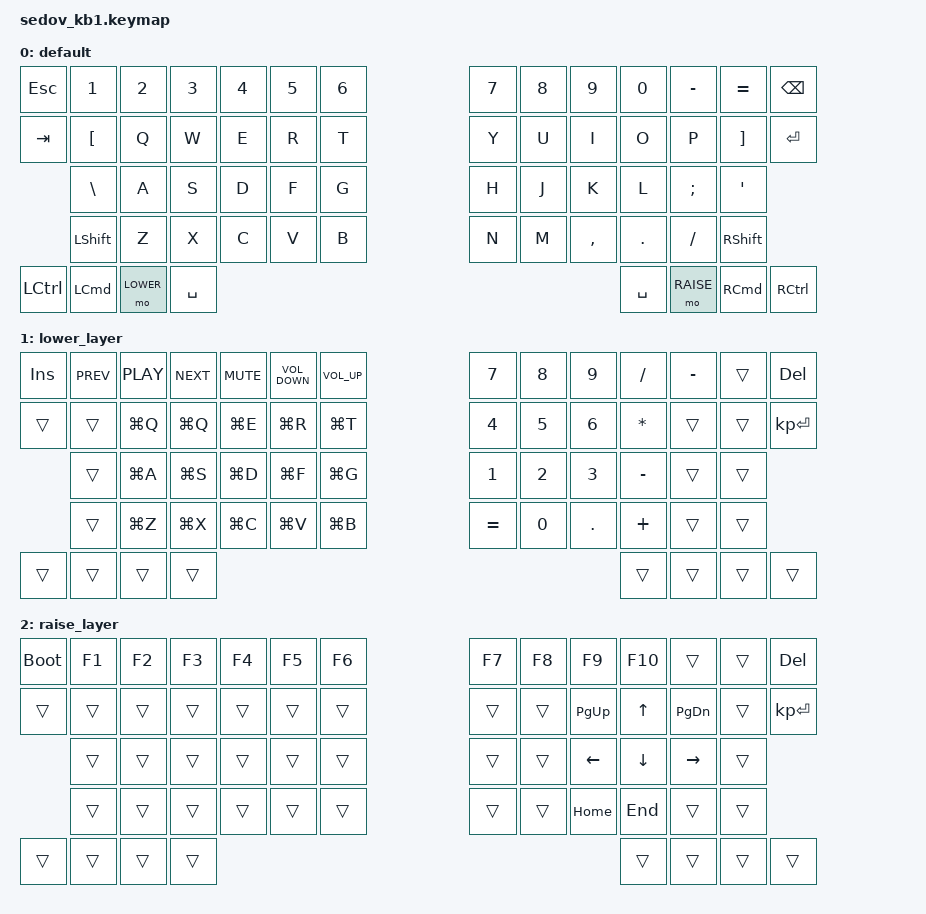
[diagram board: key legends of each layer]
/*
 * Copyright (c) 2020 The ZMK Contributors
 *
 * SPDX-License-Identifier: MIT
 */

#include <behaviors.dtsi>
#include <behaviors/mouse_move.dtsi>
#include <behaviors/mouse_scroll.dtsi>
#include <behaviors/mouse_keys.dtsi>

#include <dt-bindings/zmk/keys.h>
#include <dt-bindings/zmk/bt.h>
#include <dt-bindings/zmk/outputs.h>
#include <dt-bindings/zmk/mouse.h>

#define DEFAULT 0
#define LOWER  1
#define RAISE  2


/ {
    keymap {
        compatible = "zmk,keymap";

        default {
           bindings = <
                &kp ESC    &kp N1      &kp N2      &kp N3     &kp N4      &kp N5    &kp N6                              &kp N7     &kp N8     &kp N9     &kp N0     &kp MINUS    &kp EQUAL   &kp BSPC 
                &kp TAB    &kp LBKT    &kp Q       &kp W      &kp E       &kp R     &kp T                               &kp Y      &kp U      &kp I      &kp O      &kp P        &kp RBKT    &kp RET  
                           &kp BSLH    &kp A       &kp S      &kp D       &kp F     &kp G                               &kp H      &kp J      &kp K      &kp L      &kp SEMI     &kp SQT 
                           &kp LSHFT   &kp Z       &kp X      &kp C       &kp V     &kp B                               &kp N      &kp M      &kp COMMA  &kp PERIOD &kp SLASH    &kp RSHIFT 
                &kp LCTRL              &kp LCMD               &mo LOWER             &kp SPACE                           &kp SPACE             &mo RAISE             &kp RCMD                &kp RCTRL  
            >;
        };
        lower_layer {
           bindings = <
                &kp INS    &kp C_PREV  &kp C_PLAY  &kp C_NEXT &kp C_MUTE  &kp C_VOLUME_DOWN &kp C_VOLUME_UP             &kp N7     &kp N8     &kp N9     &kp SLASH  &kp MINUS    &trans      &kp DEL 
                &trans     &trans      &kp LG(Q)   &kp LG(Q)  &kp LG(E)   &kp LG(R)         &kp LG(T)                   &kp N4     &kp N5     &kp N6     &kp STAR   &trans       &trans      &kp KP_ENTER  
                           &trans      &kp LG(A)   &kp LG(S)  &kp LG(D)   &kp LG(F)         &kp LG(G)                   &kp N1     &kp N2     &kp N3     &kp MINUS  &trans       &trans
                           &trans      &kp LG(Z)   &kp LG(X)  &kp LG(C)   &kp LG(V)         &kp LG(B)                   &kp EQUAL  &kp N0     &kp DOT    &kp PLUS   &trans       &trans 
                &trans                 &trans                 &trans                        &trans                      &trans                &trans                &trans                   &trans 
            >;
        };
        raise_layer {
           bindings = <
                &bootloader     &kp F1      &kp F2      &kp F3     &kp F4      &kp F5    &kp F6                         &kp F7     &kp F8     &kp F9     &kp F10    &trans       &trans      &kp DEL 
                &trans     &trans      &trans      &trans     &trans      &trans    &trans                              &trans     &trans     &kp PG_UP  &kp UP     &kp PG_DN    &trans      &kp KP_ENTER  
                           &trans      &trans      &trans     &trans      &trans    &trans                              &trans     &trans     &kp LEFT   &kp DOWN   &kp RIGHT    &trans  
                           &trans      &trans      &trans     &trans      &trans    &trans                              &trans     &trans     &kp HOME   &kp END    &trans       &trans  
                &trans                 &trans                 &trans                &trans                              &trans                &trans                &trans                   &trans   
            >;
        };
    };
};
